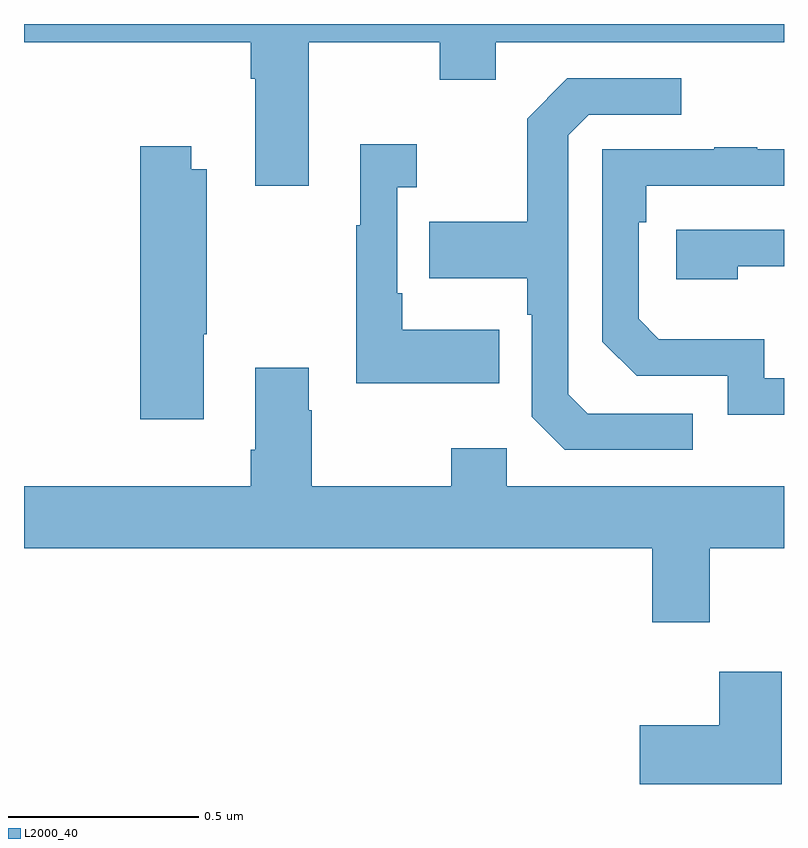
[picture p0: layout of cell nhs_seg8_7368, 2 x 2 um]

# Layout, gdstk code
import gdstk
lib = gdstk.Library(unit=1e-6, precision=1e-09)
def P(c, l, *ps):  # polygons
    for p in ps: c.add(gdstk.Polygon(p, *l))
L2000_40 = (2000, 40)

nhs_seg8_7368 = lib.new_cell('nhs_seg8_7368')
P(nhs_seg8_7368, L2000_40, [(209.749,1097.852),(210.094,1097.852),(210.094,1097.753),(210.241,1097.753),(210.241,1097.852),(211,1097.852),(211,1097.9),(209,1097.9),(209,1097.852),(209.597,1097.852),(209.597,1097.756),(209.609,1097.756),(209.609,1097.475),(209.749,1097.475)],
  [(210.76,1096.875),(210.483,1096.875),(210.432,1096.926),(210.432,1097.607),(210.486,1097.661),(210.73,1097.661),(210.73,1097.757),(210.429,1097.757),(210.324,1097.651),(210.324,1097.379),(210.067,1097.379),(210.067,1097.231),(210.324,1097.231),(210.324,1097.135),(210.336,1097.135),(210.336,1096.866),(210.423,1096.779),(210.76,1096.779)],
  [(210.251,1097.095),(209.995,1097.095),(209.995,1097.191),(209.982,1097.191),(209.982,1097.471),(210.034,1097.471),(210.034,1097.584),(209.885,1097.584),(209.885,1097.371),(209.874,1097.371),(209.874,1096.955),(210.251,1096.955)],
  [(209.473,1097.083),(209.481,1097.083),(209.481,1097.518),(209.44,1097.518),(209.44,1097.578),(209.306,1097.578),(209.306,1096.86),(209.473,1096.86)],
  [(211,1096.968),(210.948,1096.968),(210.948,1097.071),(210.671,1097.071),(210.618,1097.124),(210.618,1097.378),(210.638,1097.378),(210.638,1097.475),(211,1097.475),(211,1097.571),(210.929,1097.571),(210.929,1097.576),(210.817,1097.576),(210.817,1097.571),(210.522,1097.571),(210.522,1097.064),(210.612,1096.974),(210.852,1096.974),(210.852,1096.872),(211,1096.872)],
  [(210.878,1097.262),(211,1097.262),(211,1097.358),(210.717,1097.358),(210.717,1097.228),(210.878,1097.228)],
  [(210.805,1096.52),(211,1096.52),(211,1096.684),(210.27,1096.684),(210.27,1096.783),(210.124,1096.783),(210.124,1096.684),(209.757,1096.684),(209.757,1096.883),(209.749,1096.883),(209.749,1096.996),(209.609,1096.996),(209.609,1096.78),(209.597,1096.78),(209.597,1096.684),(209,1096.684),(209,1096.52),(210.653,1096.52),(210.653,1096.326),(210.805,1096.326)],
  [(210.994,1096.195),(210.83,1096.195),(210.83,1096.054),(210.621,1096.054),(210.621,1095.9),(210.994,1095.9)])

lib.write_gds('nhs_seg8_7368.gds')
